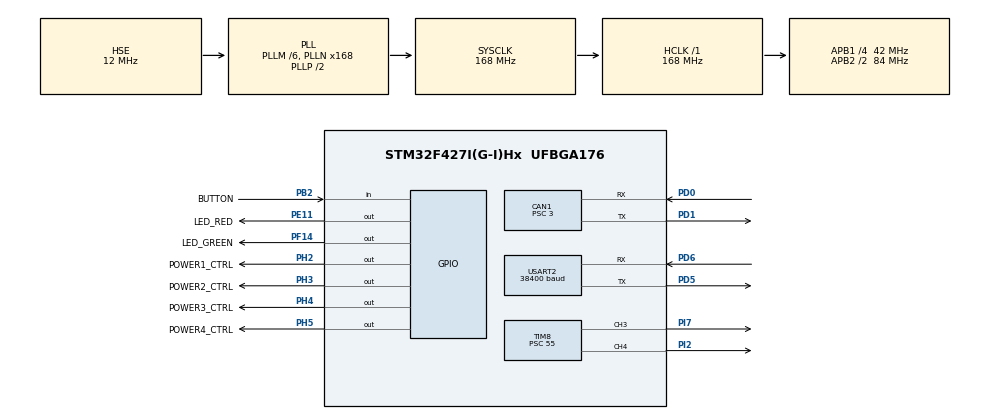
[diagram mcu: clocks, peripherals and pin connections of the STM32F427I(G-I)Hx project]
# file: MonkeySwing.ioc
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CAN1.ABOM=ENABLE
CAN1.BS1=CAN_BS1_9TQ
CAN1.BS2=CAN_BS2_4TQ
CAN1.CalculateTimeQuantum=71.42857142857143
CAN1.Prescaler=3
CAN1.TXFP=ENABLE
Dma.Request0=USART2_RX
Dma.USART2_RX.0.Direction=DMA_PERIPH_TO_MEMORY
Dma.USART2_RX.0.FIFOMode=DMA_FIFOMODE_DISABLE
Dma.USART2_RX.0.Instance=DMA1_Stream5
Dma.USART2_RX.0.MemDataAlignment=DMA_MDATAALIGN_BYTE
Dma.USART2_RX.0.MemInc=DMA_MINC_ENABLE
Dma.USART2_RX.0.Mode=DMA_NORMAL
Dma.USART2_RX.0.PeriphDataAlignment=DMA_PDATAALIGN_BYTE
Dma.USART2_RX.0.PeriphInc=DMA_PINC_DISABLE
Dma.USART2_RX.0.Priority=DMA_PRIORITY_LOW
Mcu.Family=STM32F4
Mcu.Name=STM32F427I(G-I)Hx
Mcu.Package=UFBGA176
NVIC.CAN1_RX0_IRQn=true\:0\:0\:false\:false\:true\:true\:true
NVIC.DMA1_Stream5_IRQn=true\:0\:0\:false\:false\:true\:false\:true
NVIC.PriorityGroup=NVIC_PRIORITYGROUP_4
NVIC.TIM1_BRK_TIM9_IRQn=true\:0\:0\:false\:false\:true\:true\:true
NVIC.TIM8_BRK_TIM12_IRQn=true\:2\:0\:true\:false\:true\:true\:true
NVIC.TIM8_UP_TIM13_IRQn=true\:1\:0\:true\:false\:true\:true\:true
PA0/WKUP.Signal=USART2_CTS
PA1.Signal=USART2_RTS
PB2/BOOT1.GPIO_Label=BUTTON
PB2/BOOT1.Signal=GPIO_Input
PD0.Mode=Master
PD0.Signal=CAN1_RX
PD1.Mode=Master
PD1.Signal=CAN1_TX
PD5.Mode=Asynchronous
PD5.Signal=USART2_TX
PD6.Mode=Asynchronous
PD6.Signal=USART2_RX
PE11.GPIO_Label=LED_RED
PE11.PinState=GPIO_PIN_SET
PE11.Signal=GPIO_Output
PF14.GPIO_Label=LED_GREEN
PF14.PinState=GPIO_PIN_SET
PF14.Signal=GPIO_Output
PH0/OSC_IN.Mode=HSE-External-Oscillator
PH0/OSC_IN.Signal=RCC_OSC_IN
PH1/OSC_OUT.Mode=HSE-External-Oscillator
PH1/OSC_OUT.Signal=RCC_OSC_OUT
PH2.GPIO_Label=POWER1_CTRL
PH2.Signal=GPIO_Output
PH3.GPIO_Label=POWER2_CTRL
PH3.Signal=GPIO_Output
PH4.GPIO_Label=POWER3_CTRL
PH4.Signal=GPIO_Output
PH5.GPIO_Label=POWER4_CTRL
PH5.Signal=GPIO_Output
PI2.Signal=S_TIM8_CH4
PI7.Signal=S_TIM8_CH3
ProjectManager.HeapSize=0x200
ProjectManager.StackSize=0x400
ProjectManager.TargetToolchain=STM32CubeIDE
RCC.48MHZClocksFreq_Value=84000000
RCC.AHBFreq_Value=168000000
RCC.APB1CLKDivider=RCC_HCLK_DIV4
RCC.APB1Freq_Value=42000000
RCC.APB1TimFreq_Value=84000000
RCC.APB2CLKDivider=RCC_HCLK_DIV2
RCC.APB2Freq_Value=84000000
RCC.APB2TimFreq_Value=168000000
RCC.CortexFreq_Value=168000000
RCC.HCLKFreq_Value=168000000
RCC.HSE_VALUE=12000000
RCC.HSI_VALUE=16000000
RCC.LSE_VALUE=32768
RCC.PLLM=6
RCC.PLLN=168
RCC.PLLSourceVirtual=RCC_PLLSOURCE_HSE
RCC.SYSCLKFreq_VALUE=168000000
RCC.SYSCLKSource=RCC_SYSCLKSOURCE_PLLCLK
RCC.VCOOutputFreq_Value=336000000
SH.S_TIM8_CH3.0=TIM8_CH3,PWM Generation3 CH3
SH.S_TIM8_CH4.0=TIM8_CH4,PWM Generation4 CH4
TIM12.Period=60000
TIM12.Prescaler=699
TIM8.Channel-PWM\ Generation3\ CH3=TIM_CHANNEL_3
TIM8.Channel-PWM\ Generation4\ CH4=TIM_CHANNEL_4
TIM8.Period=60000
TIM8.Prescaler=55
TIM9.Period=56000
TIM9.Prescaler=2
USART2.BaudRate=38400
USART2.VirtualMode=VM_ASYNC
VP_TIM12_VS_ClockSourceINT.Mode=Internal
VP_TIM8_VS_ClockSourceINT.Mode=Internal
VP_TIM9_VS_ClockSourceINT.Mode=Internal
board=custom

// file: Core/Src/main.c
/* USER CODE BEGIN Header */
/**
  ******************************************************************************
  * @file           : main.c
  * @brief          : Main program body
  ******************************************************************************
  * @attention
  *
  * <h2><center>&copy; Copyright (c) 2020 STMicroelectronics.
  * All rights reserved.</center></h2>
  *
  * This software component is licensed by ST under BSD 3-Clause license,
  * the "License"; You may not use this file except in compliance with the
  * License. You may obtain a copy of the License at:
  *                        opensource.org/licenses/BSD-3-Clause
  *
  ******************************************************************************
  */
/* USER CODE END Header */

#include "main.h"
#include "can.h"
#include "dma.h"
#include "tim.h"
#include "usart.h"
#include "gpio.h"

/* USER CODE BEGIN Includes */
#include "gm6020.h"
#include "gripper.h"
#include "pid.h"
#include "trajectory.h"
#include "stdio.h"
/* USER CODE END Includes */

/* USER CODE BEGIN PTD */
typedef enum {Init, Wait, Toggle, Power, Cal, Gains, Load, Password, Swing} State;
/* USER CODE END PTD */

/* USER CODE BEGIN PV */
PID_Controller pos_cntlrs[4];	// position PID controller
PID_Controller vel_cntlrs[4];	// velocity PID controller
PID_Controller motor_cntlrs[4];	// motor PID controller (technically voltage, whatever that means)
int16_t ref[] = {0, 0, 0, 0};	// motor reference (for debugging)

Motor motors[4];									// motors
int8_t motor_dirs[4] = {1, -1, -1, 1};				// motor directions
uint16_t motor_offs[4] = {2737, 3986, 1292, 4173};	// motor zero angles
uint8_t motors_on = 0;								// indicates if motors are on (1) or off (2)

Trajectory traj;			// trajectory iterator
uint8_t traj_arr[190000];	// raw trajectory file location
uint32_t traj_bytes = 0;	// number of bytes in trajectory file
uint32_t traj_size = 0;		// amount of trajectory data in file
uint8_t traj_div = 1;		// divisor for file time step to 1ms
uint8_t file_tx_done = 1;	// indicator for if trajectory file is actively being loaded or not (referenced by DMA callback)
uint8_t swing_done = 1;		// indicator for if swing motion is completed
uint8_t iter_traj = 0;		// indicator for if trajectory should be iterated during PID loop
uint8_t traj_cnt = 0;		// counter to iterate to next trajectory step

Gripper Gripper_1_Cal;					// gripper 1
Gripper Gripper_2_Cal;					// gripper 2

State state = Init;	// main program state
unsigned char cmd;	// UART command

// Status messages sent over UART
unsigned char msg_done[] = "done\r\n\r\n";
unsigned char msg_init[] = "Initialization done\r\n\r\n";
unsigned char msg_wait[] = "Waiting for command\r\n";
unsigned char msg_toggle[] = "Toggling gripper... ";
unsigned char msg_power[] = "Toggling motor power... ";
unsigned char msg_cal[] = "Zeroing motor positions... ";
unsigned char msg_gain[] = "Waiting for PID file... ";
unsigned char msg_size[] = "Specify file byte size... ";
unsigned char msg_div[] = "Specify file time divisor... ";
unsigned char msg_load[] = "Waiting for trajectory file... ";
unsigned char msg_pwd[] = "Waiting for password (abc)... ";
unsigned char msg_swing[] = "Starting swing... ";
/* USER CODE END PV */

void SystemClock_Config(void);

/* USER CODE BEGIN 0 */
/**
  * @brief	PID controller update
  */
void update_motor_cntl() {
	// Check if trajectory is done
	if(traj_is_finished(&traj) == 1) {
		finish_traj();
		return;
	}

	// Update gripper states accordingly
	if(traj.cmode == 1) {
		close_gripper(&Gripper_1_Cal);
		open_gripper(&Gripper_2_Cal);
	} else if(traj.cmode == 2) {
		open_gripper(&Gripper_1_Cal);
		close_gripper(&Gripper_2_Cal);
	} else {
		close_gripper(&Gripper_1_Cal);
		close_gripper(&Gripper_2_Cal);
	}

	// Get new PID outputs
	for(uint8_t i = 0; i < 4; ++i) {
		pid_update(&pos_cntlrs[i], traj.pos[i], (float) motors[i].pos*TICK_TO_RAD);
		pid_update(&vel_cntlrs[i], traj.vel[i], (float) motors[i].vel*RPM_TO_RADpS);
		pid_update(&motor_cntlrs[i], pos_cntlrs[i].u+vel_cntlrs[i].u+traj.torque[i], (float) motors[i].cur*MA_TO_NM);
		set_voltage(&motors[i], (int16_t) motor_cntlrs[i].u);
	}
	send_voltage(&hcan1, motors);

	// Iterate trajectory
	if(iter_traj) {
		if(++traj_cnt == traj_div){
			update_traj(&traj);
			traj_cnt = 0;
		}
	}

	return;
}

/**
  * @brief	Finish trajectory response
  */
void finish_traj() {
	// Disable timer interrupts
	HAL_TIM_Base_Stop_IT(&htim9);

	reset_traj(&traj);	// reset trajectory iterator
	traj_cnt = 0;

	swing_done = 1;	// indicate swing is done to move to wait state
	return;
}

/**
  * @brief	DMA transfer is complete
  */
void traj_load_done() {
	file_tx_done = 1;
	return;
}

/**
  * @brief	Send some info over USART, for debugging
  */
void send_serial() {
	unsigned char byte_ptr[30];
	uint8_t len = sizeof(byte_ptr) / sizeof(byte_ptr[0]);

	sprintf(&byte_ptr[0], "%6d\t%6d\t%6d\t%6d\r\n", motors[0].pos, motors[1].pos, motors[2].pos, motors[3].pos);

	HAL_UART_Transmit(&huart2, byte_ptr, len, HAL_MAX_DELAY);	// Send data

	HAL_GPIO_TogglePin(LED_RED_GPIO_Port, LED_RED_Pin);
	return;
}
/* USER CODE END 0 */

int main(void)
{

  /* MCU Configuration--------------------------------------------------------*/

  /* Reset of all peripherals, Initializes the Flash interface and the Systick. */
  HAL_Init();

  /* Configure the system clock */
  SystemClock_Config();

  /* Initialize all configured peripherals */
  MX_GPIO_Init();
  MX_DMA_Init();
  MX_CAN1_Init();
  MX_USART2_UART_Init();
  MX_TIM9_Init();
  MX_TIM8_Init();
  MX_TIM12_Init();
  /* USER CODE BEGIN 2 */

  // Initialize PID controllers for position (outer-most loop of cascade architecture)
  for(uint8_t i = 0; i < 2; ++i)
	  pid_init(&pos_cntlrs[i], 1.0, 0.5, 0.055, 0.001, 2.0, 5.0, 1.0);
  for(uint8_t i = 2; i < 4; ++i)
	  pid_init(&pos_cntlrs[i], 1.0, 0.5, 0.055, 0.001, 2.0, 5.0, 1.0);

  // Initialize PID controllers for velocity (middle loop of cascade architecture)
  for(uint8_t i = 0; i < 2; ++i)
	  pid_init(&vel_cntlrs[i], 0.08, 50.0, 0.0, 0.001, 2.0, 5.0, 1.0);
  for(uint8_t i = 2; i < 4; ++i)
	  pid_init(&vel_cntlrs[i], 0.08, 50.0, 0.0, 0.001, 2.0, 5.0, 1.0);

  // Initialize PID controllers for motors (inner-most loop of cascade architecture)
  for(uint8_t i = 0; i < 4; ++i)
	  pid_init(&motor_cntlrs[i], 3000.0, 1250000.0, 0.0, 0.001, 30000.0, 30000.0, 1.0);

  // Initialize motors
  for(uint8_t i = 0; i < 4; ++i) {
	  motor_init(&motors[i], i+1, motor_dirs[i]);
	  motors[i].off = motor_offs[i];
  }

  // Finish CAN initialization for robot motors.
  can_motors_init(&hcan1);

  // Enable CAN
  HAL_CAN_Start(&hcan1);

  // Initialize grippers
  init_gripper(&Gripper_1_Cal, Gripper_1, GRIPPER_1_OPEN_PWM, GRIPPER_1_CLOSE_PWM, &htim8, 3);
  init_gripper(&Gripper_2_Cal, Gripper_2, GRIPPER_2_OPEN_PWM, GRIPPER_2_CLOSE_PWM, &htim8, 4);

  // Enable PWM
  HAL_TIM_PWM_Start(&htim8, TIM_CHANNEL_3);	// Start PWM for Gripper 1
  HAL_TIM_PWM_Start(&htim8, TIM_CHANNEL_4);	// Start PWM for Gripper 2

//  // Enable timer interrupts for serial transmit (debugging)
//  HAL_TIM_Base_Start_IT(&htim12);
  /* USER CODE END 2 */

  /* Infinite loop */
  while (1)
  {

    /* USER CODE BEGIN 3 */
	  switch(state) {
	  	  // Initialization state - only ever entered once
	  	  case Init:
	  		  HAL_UART_Transmit(&huart2, msg_init, sizeof(msg_init), 1000);
	  		  state = Wait;
	  		  break;

	  	  // Wait state - wait to receive a command over UART
	  	  case Wait:
	  		  HAL_UART_Transmit(&huart2, msg_wait, sizeof(msg_wait), 1000);
	  		  while(HAL_UART_Receive(&huart2, &cmd, 1, 100) != HAL_OK);

	  		  if(cmd == '1' || cmd == '2')
	  			  state = Toggle;
	  		  else if(cmd == 'c' || cmd == 'C')
	  			  state = Cal;
	  		  else if(cmd == 'g' || cmd == 'G')
	  			  state = Gains;
	  		  else if(cmd == 'p' || cmd == 'P')
	  			  state = Power;
	  		  else if(cmd == 't' || cmd == 'T')
	  			  state = Load;
	  		  else if(cmd == 's' || cmd == 'S')
	  			  state = Swing;
	  		  break;

	  	  // Toggle state - open/close the specified gripper
	  	  case Toggle:
	  		  HAL_UART_Transmit(&huart2, msg_toggle, sizeof(msg_toggle), 1000);
	  		  // Open or close gripper 1
	  		  if(cmd == '1')
	  			  toggle_gripper(&Gripper_1_Cal);
	  		  // Open or close gripper 2
			  else if(cmd == '2')
				  toggle_gripper(&Gripper_2_Cal);
	  		  HAL_UART_Transmit(&huart2, msg_done, sizeof(msg_done), 1000);
	  		  state = Wait;	// return to wait state
	  		  break;

	  	  // Motor power state - turn the GM6020 motor power on/off
	  	  case Power:
	  		  HAL_UART_Transmit(&huart2, msg_power, sizeof(msg_power), 1000);
	  		  if(motors_on) {
	  			  // Turn motors off
	  			  power_off_motors();
	  		  	  motors_on = 0;
	  		  } else {
	  			  // Turn motors on
	  			  power_on_motors();
	  			  motors_on = 1;
	  		  }
	  		  HAL_UART_Transmit(&huart2, msg_done, sizeof(msg_done), 1000);
	  		  state = Wait;	// return to wait state
	  		  break;

	  	  // Calibration state - set the zeros for the motor positions
	  	  case Cal:
	  		  HAL_UART_Transmit(&huart2, msg_cal, sizeof(msg_cal), 1000);
	  		  HAL_Delay(100);	// Give motors time to send sensor feedback
	  		  // Save the zero angle readings
	  		  for(uint8_t i = 0; i < 4; ++i)
	  			  motors[i].off = motors[i].raw_pos;
	  		  HAL_UART_Transmit(&huart2, msg_done, sizeof(msg_done), 1000);
	  		  state = Wait;	// return to wait state
	  		  break;

		  // Load new PID gains
	  	  case Gains:
	  		// Last wait for the actual file
			  HAL_UART_Transmit(&huart2, msg_gain, sizeof(msg_gain), 1000);
			  power_off_motors();
			  float buff[21];
			  uint8_t* buff_byte = (uint8_t*) &buff[0];
			  while(HAL_UART_Receive(&huart2, buff_byte, 7*3*sizeof(float), 1000) != HAL_OK);
			  for(uint8_t i = 0; i < 4; ++i)
			  	  pid_init(&pos_cntlrs[i], buff[0], buff[1], buff[2], buff[3], buff[4], buff[5], buff[6]);
			  for(uint8_t i = 0; i < 4; ++i)
			  	  pid_init(&vel_cntlrs[i], buff[7], buff[8], buff[9], buff[10], buff[11], buff[12], buff[13]);
			  for(uint8_t i = 0; i < 4; ++i)
			  	  pid_init(&motor_cntlrs[i], buff[14], buff[15], buff[16], buff[17], buff[18], buff[19], buff[20]);
			  HAL_UART_Transmit(&huart2, msg_done, sizeof(msg_done), 1000);
			  state = Password;	// wait for correct sequence before turning on
	  		  break;

	  	  // Load trajectory state - wait until the trajectory file of the exact specified size is received over UART
	  	  case Load:	// NOTE: Cannot receive a new command until the entire file is received
	  		  // First get the number of bytes to load
	  		  HAL_UART_Transmit(&huart2, msg_size, sizeof(msg_size), 1000);
	  		  cmd = '0';
	  		  traj_bytes = 0;
	  		  while(cmd >= '0' && cmd <= '9') {
	  			  traj_bytes = traj_bytes * 10 + (cmd - '0');
	  			  while(HAL_UART_Receive(&huart2, &cmd, 1, 100) != HAL_OK);
	  		  }
	  		  init_traj(&traj, &traj_arr[0], traj_bytes/sizeof(traj_t));	// Initialize trajectory structure
	  		  HAL_UART_Transmit(&huart2, "\r\n", 3, 1000);

	  		  // Next get the trajectory file time divisor from 1ms
	  		  HAL_UART_Transmit(&huart2, msg_div, sizeof(msg_div), 1000);
			  cmd = '0';
			  traj_div = 0;
			  while(cmd >= '0' && cmd <= '9') {
				  traj_div = traj_div * 10 + (cmd - '0');
				  while(HAL_UART_Receive(&huart2, &cmd, 1, 100) != HAL_OK);
			  }
			  HAL_UART_Transmit(&huart2, "\r\n", 3, 1000);

	  		  // Last wait for the actual file
	  		  HAL_UART_Transmit(&huart2, msg_load, sizeof(msg_load), 1000);
	  		  power_off_motors();
	  		  for(uint32_t ind = 0; ind < traj_bytes; ind += 0xffff) {
		  		  file_tx_done = 0;
	  			  HAL_UART_Receive_DMA(&huart2, &traj_arr[ind], (traj_bytes-ind>0xffff ? 0xffff : traj_bytes-ind));
	  			  while(!file_tx_done);	// wait for transfer to finish
	  		  }
	  		  reset_traj(&traj);	// Load in first set of data
	  		  HAL_UART_Transmit(&huart2, msg_done, sizeof(msg_done), 1000);
	  		  state = Password;	// wait for correct sequence before turning on
	  		  break;

	  	  // Block until password entered - prevents an overloaded trajectory from accidentally messing things up
	  	  case Password:
	  		  HAL_UART_Transmit(&huart2, msg_pwd, sizeof(msg_pwd), 1000);
	  		  uint8_t cnt = 'a';
	  		  while(cnt != 'd') {
	  			  while(HAL_UART_Receive(&huart2, &cmd, 1, 100) != HAL_OK);
	  			  if(cmd == cnt) {
	  				  ++cnt;
	  				  cmd = '.';
	  				  HAL_UART_Transmit(&huart2, &cmd, 1, 100);
	  			  } else {
	  				  cnt = 'a';
	  				  cmd = 'x';
	  				  HAL_UART_Transmit(&huart2, &cmd, 1, 100);
	  			  }
	  		  }
			  if(motors_on)
				  power_on_motors();
			  HAL_UART_Transmit(&huart2, msg_done, sizeof(msg_done), 1000);
			  state = Wait;	// return to wait state
			  break;

	  	  // Swing state - Use PID to follow trajectory file
	  	  case Swing:
	  		  HAL_UART_Transmit(&huart2, msg_swing, sizeof(msg_swing), 1000);
	  		  swing_done = 0;
	  		  iter_traj = 0;						// disable trajectory iteration
	  		  HAL_TIM_Base_Start_IT(&htim9);		// enable timer interrupts for PID update
	  		  HAL_Delay(2000);						// wait for motors to get to initial positions
	  		  iter_traj = 1;						// allow trajectory to iterate
	  		  while(!swing_done);
	  		  HAL_UART_Transmit(&huart2, msg_done, sizeof(msg_done), 1000);
	  		  state = Wait;	// return to wait state
	  		  break;
	  }
  }
  /* USER CODE END 3 */
}

void SystemClock_Config(void)
{
  RCC_OscInitTypeDef RCC_OscInitStruct = {0};
  RCC_ClkInitTypeDef RCC_ClkInitStruct = {0};

  /** Configure the main internal regulator output voltage
  */
  __HAL_RCC_PWR_CLK_ENABLE();
  __HAL_PWR_VOLTAGESCALING_CONFIG(PWR_REGULATOR_VOLTAGE_SCALE1);
  /** Initializes the CPU, AHB and APB busses clocks
  */
  RCC_OscInitStruct.OscillatorType = RCC_OSCILLATORTYPE_HSE;
  RCC_OscInitStruct.HSEState = RCC_HSE_ON;
  RCC_OscInitStruct.PLL.PLLState = RCC_PLL_ON;
  RCC_OscInitStruct.PLL.PLLSource = RCC_PLLSOURCE_HSE;
  RCC_OscInitStruct.PLL.PLLM = 6;
  RCC_OscInitStruct.PLL.PLLN = 168;
  RCC_OscInitStruct.PLL.PLLP = RCC_PLLP_DIV2;
  RCC_OscInitStruct.PLL.PLLQ = 4;
  if (HAL_RCC_OscConfig(&RCC_OscInitStruct) != HAL_OK)
  {
    Error_Handler();
  }
  /** Initializes the CPU, AHB and APB busses clocks
  */
  RCC_ClkInitStruct.ClockType = RCC_CLOCKTYPE_HCLK|RCC_CLOCKTYPE_SYSCLK
                              |RCC_CLOCKTYPE_PCLK1|RCC_CLOCKTYPE_PCLK2;
  RCC_ClkInitStruct.SYSCLKSource = RCC_SYSCLKSOURCE_PLLCLK;
  RCC_ClkInitStruct.AHBCLKDivider = RCC_SYSCLK_DIV1;
  RCC_ClkInitStruct.APB1CLKDivider = RCC_HCLK_DIV4;
  RCC_ClkInitStruct.APB2CLKDivider = RCC_HCLK_DIV2;

  if (HAL_RCC_ClockConfig(&RCC_ClkInitStruct, FLASH_LATENCY_5) != HAL_OK)
  {
    Error_Handler();
  }
}

void Error_Handler(void)
{
}

/************************ (C) COPYRIGHT STMicroelectronics *****END OF FILE****/
